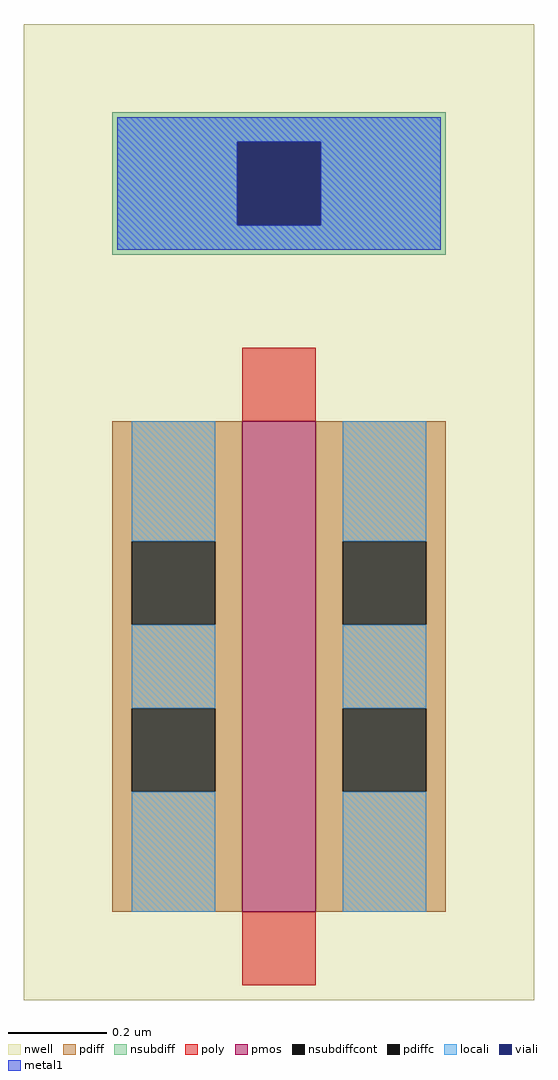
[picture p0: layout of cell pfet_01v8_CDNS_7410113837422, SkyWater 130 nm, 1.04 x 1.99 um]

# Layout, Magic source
magic
tech sky130A
magscale 1 2
<< nwell >>
rect -89 -36 119 362
<< pmos >>
rect 0 0 30 200
<< pdiff >>
rect -53 151 0 200
rect -53 117 -45 151
rect -11 117 0 151
rect -53 83 0 117
rect -53 49 -45 83
rect -11 49 0 83
rect -53 0 0 49
rect 30 151 83 200
rect 30 117 41 151
rect 75 117 83 151
rect 30 83 83 117
rect 30 49 41 83
rect 75 49 83 83
rect 30 0 83 49
<< pdiffc >>
rect -45 117 -11 151
rect -45 49 -11 83
rect 41 117 75 151
rect 41 49 75 83
<< nsubdiff >>
rect -53 314 83 326
rect -53 280 -2 314
rect 32 280 83 314
rect -53 268 83 280
<< nsubdiffcont >>
rect -2 280 32 314
<< poly >>
rect 0 200 30 230
rect 0 -30 30 0
<< locali >>
rect -51 314 81 324
rect -51 280 -2 314
rect 32 280 81 314
rect -51 270 81 280
rect -45 151 -11 200
rect -45 83 -11 117
rect -45 0 -11 49
rect 41 151 75 200
rect 41 83 75 117
rect 41 0 75 49
<< viali >>
rect -2 280 32 314
<< metal1 >>
rect -51 314 81 324
rect -51 280 -2 314
rect 32 280 81 314
rect -51 270 81 280
<< end >>
